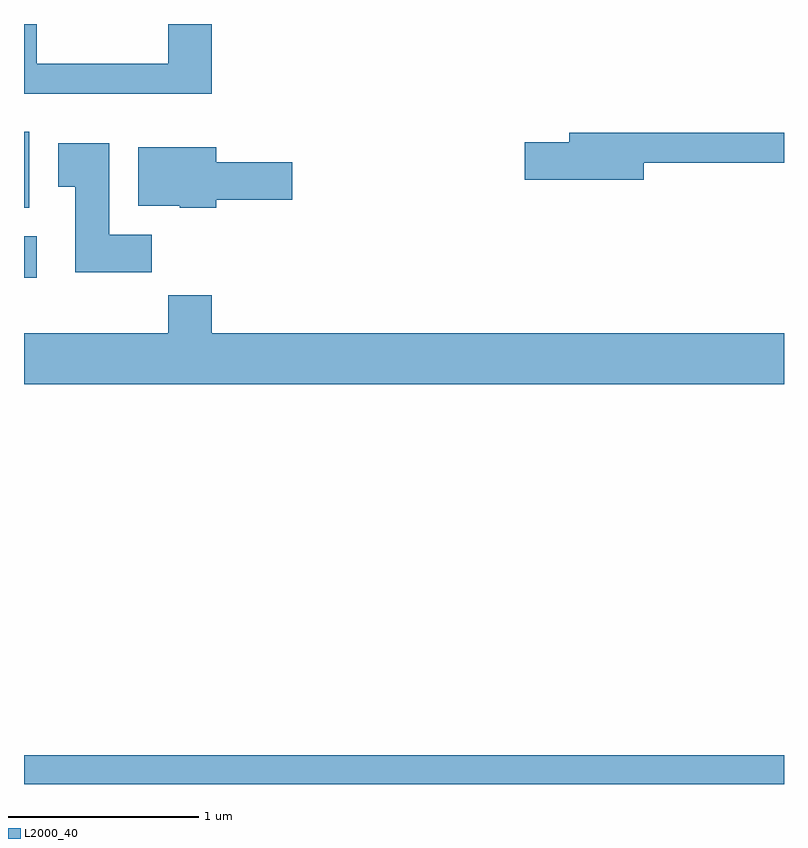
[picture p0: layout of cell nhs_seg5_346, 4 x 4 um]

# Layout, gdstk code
import gdstk
lib = gdstk.Library(unit=1e-6, precision=1e-09)
def R(c, l, rs):  # rectangles x0, y0, x1, y1
    for r in rs: c.add(gdstk.rectangle(r[:2], r[2:], *l))
def P(c, l, *ps):  # polygons
    for p in ps: c.add(gdstk.Polygon(p, *l))
L2000_40 = (2000, 40)

nhs_seg5_346 = lib.new_cell('nhs_seg5_346')
R(nhs_seg5_346, L2000_40, [(195.611,1408.072,199.611,1408.224), (195.611,1410.736,195.679,1410.954), (195.611,1411.106,195.639,1411.504)])
P(nhs_seg5_346, L2000_40, [(196.599,1412.072),(196.371,1412.072),(196.371,1411.864),(195.679,1411.864),(195.679,1412.072),(195.611,1412.072),(195.611,1411.706),(196.599,1411.706)],
  [(198.874,1411.341),(199.611,1411.341),(199.611,1411.499),(198.481,1411.499),(198.481,1411.449),(198.246,1411.449),(198.246,1411.251),(198.874,1411.251)],
  [(196.284,1410.964),(196.059,1410.964),(196.059,1411.444),(195.791,1411.444),(195.791,1411.216),(195.881,1411.216),(195.881,1410.766),(196.284,1410.766)],
  [(196.624,1411.146),(197.024,1411.146),(197.024,1411.344),(196.624,1411.344),(196.624,1411.424),(196.211,1411.424),(196.211,1411.116),(196.43,1411.116),(196.43,1411.106),(196.624,1411.106)],
  [(199.611,1410.444),(196.599,1410.444),(196.599,1410.644),(196.371,1410.644),(196.371,1410.444),(195.611,1410.444),(195.611,1410.176),(199.611,1410.176)])

lib.write_gds('nhs_seg5_346.gds')
